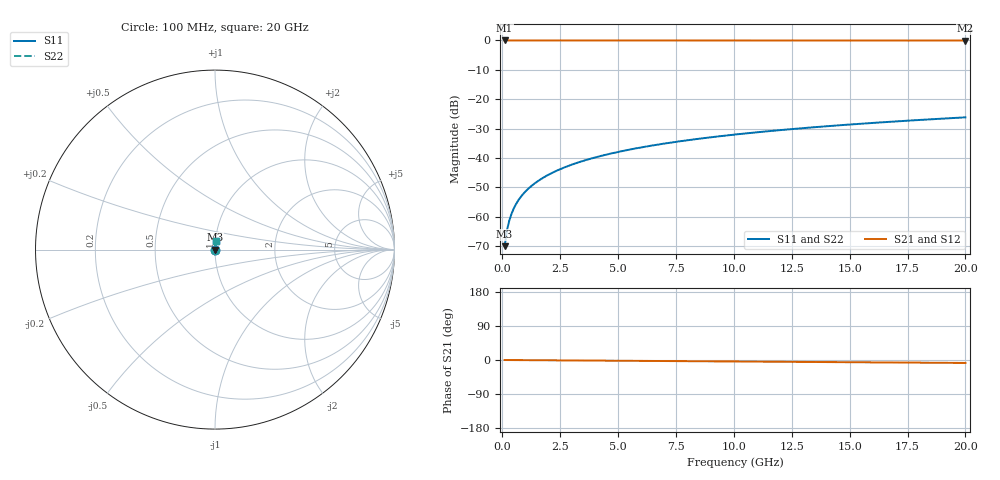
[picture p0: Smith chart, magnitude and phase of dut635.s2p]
! Touchstone file exported from HFSS 2026.1.0
!  File:  C:/ffzhzh/LocalFiles/Ansys_Project_Files/temp_train_TSV_635_1783026312_4048.aedt
!  Generated:  05:07:22 AM Jul  3, 2026
!  Design:  TSV
!  Project:  temp_train_TSV_635_1783026312_4048
! Variables:
!  h_bsmrdl = 2um
!  h_ox = 20um
!  h_rdl = 5um
!  h_sub = 66.72um
!  h_tmrdl = 5um
!  h_tsv = 66.72um
!  h_via = 3um
!  l_bsmrdl = 300um
!  l_sub = 416.82um
!  l_tmrdl = 200um
!  m_sub = 200um
!  pitch = 54.46um
!  r_tsv = 8.41um
!  s_tmrdl = 10um
!  w_bsmrdl = 18um
!  w_sub = 500um
!  w_tmrdl = 12um
!  x_tsv_center1 = 206um
!  x_tsv_center2 = 524um
!  x_tsv_center3 = 736um
!  x_tsv_center4 = 1054um
!  x_tsv_center5 = 1266um
!  x_tsv_center6 = 1584um
# GHz S MA R 50.000000
! Terminal data exported
! Port[1] = TSV1_1_T1
! Port[2] = TSV1_1_T2
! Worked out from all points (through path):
!   200 points, 100 MHz to 20 GHz, reference 50 ohm
!   highest |S21| = 0.00 dB at 100 MHz (marker M1); lowest = 0.0 dB at 20 GHz (marker M2)
!   group delay of S21, straight-line fit = 1.08 ps
!   lowest |S11| = -70.0 dB at 100 MHz (marker M3), VSWR 1.00, Z = 50 + j0.0283 ohm
!   |S11| at or under -10 dB: start of sweep to end of sweep
!   |S22| runs from -70.0 to -26.2 dB; largest |S21 - S12| = 3.1e-15
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0.1  0.0003163 63.3  0.9999 -0.0  0.9999 -0.0  0.0003163 63.3
! Gamma 0 0 0 0
! Port Impedance 50 0 50 0
0.2  0.0005832 74.9  0.9998 -0.1  0.9998 -0.1  0.0005832 74.9
0.3  0.0008568 78.8  0.9998 -0.1  0.9998 -0.1  0.0008568 78.8
0.4  0.001129 80.6  0.9998 -0.2  0.9998 -0.2  0.001129 80.6
0.5  0.001398 81.6  0.9998 -0.2  0.9998 -0.2  0.001398 81.6
0.6  0.001663 82.2  0.9998 -0.2  0.9998 -0.2  0.001663 82.2
0.7  0.001924 82.6  0.9998 -0.3  0.9998 -0.3  0.001924 82.6
0.8  0.002183 83.0  0.9997 -0.3  0.9997 -0.3  0.002183 83.0
1  0.002695 83.5  0.9997 -0.4  0.9997 -0.4  0.002695 83.5
1.4  0.003704 84.2  0.9997 -0.6  0.9997 -0.6  0.003704 84.2
1.7  0.004457 84.6  0.9996 -0.7  0.9996 -0.7  0.004457 84.6
2  0.005208 84.9  0.9996 -0.8  0.9996 -0.8  0.005208 84.9
2.7  0.006959 85.2  0.9995 -1.1  0.9995 -1.1  0.006959 85.2
3.5  0.008956 85.4  0.9995 -1.4  0.9995 -1.4  0.008956 85.4
4.2  0.0107 85.4  0.9994 -1.7  0.9994 -1.7  0.0107 85.4
5  0.01268 85.3  0.9993 -2.0  0.9993 -2.0  0.01268 85.3
6.8  0.01712 85.0  0.9991 -2.7  0.9991 -2.7  0.01712 85.0
8.3  0.0208 84.6  0.999 -3.2  0.999 -3.2  0.0208 84.6
10.1  0.0252 84.1  0.9988 -3.9  0.9988 -3.9  0.0252 84.1
13.4  0.03323 83.1  0.9985 -5.2  0.9985 -5.2  0.03323 83.1
16.7  0.04122 82.0  0.9981 -6.5  0.9981 -6.5  0.04122 82.0
20  0.04916 80.8  0.9976 -7.8  0.9976 -7.8  0.04916 80.8
